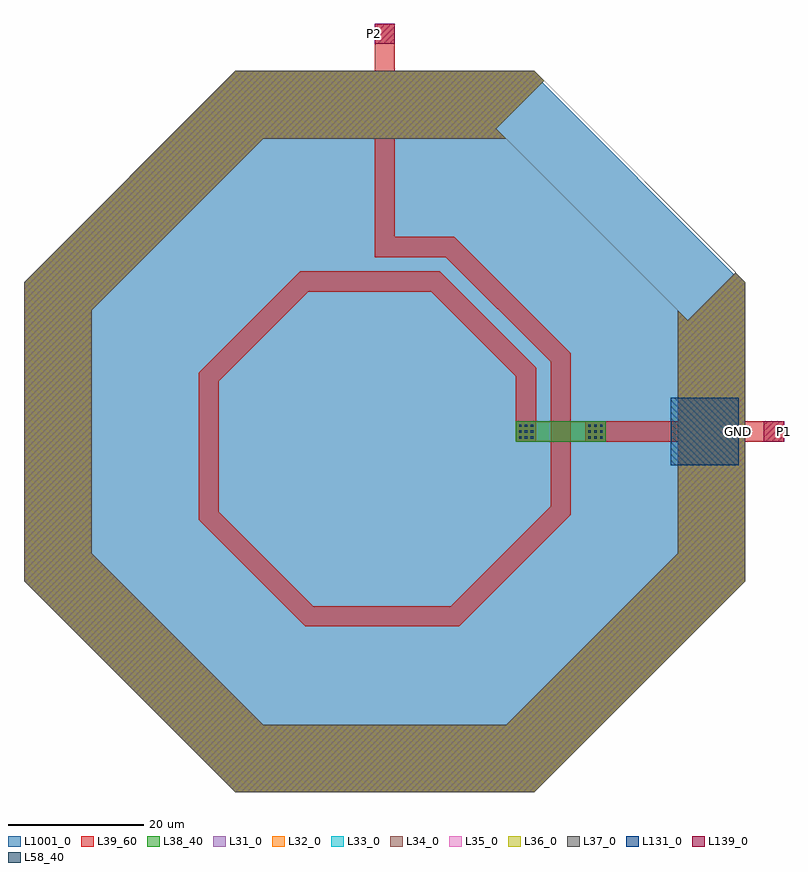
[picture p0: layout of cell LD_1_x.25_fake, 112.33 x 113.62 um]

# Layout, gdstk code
import gdstk
lib = gdstk.Library(unit=1e-6, precision=1e-09)
def R(c, l, rs):  # rectangles x0, y0, x1, y1
    for r in rs: c.add(gdstk.rectangle(r[:2], r[2:], *l))
def A(c, l, x, y, w, h, nx, ny, dx, dy):  # array of equal rectangles
    R(c, l, [(x+i*dx, y+j*dy, x+i*dx+w, y+j*dy+h) for i in range(nx) for j in range(ny)])
def P(c, l, *ps):  # polygons
    for p in ps: c.add(gdstk.Polygon(p, *l))
L31_0 = (31, 0)
L32_0 = (32, 0)
L33_0 = (33, 0)
L34_0 = (34, 0)
L35_0 = (35, 0)
L36_0 = (36, 0)
L37_0 = (37, 0)
L38_40 = (38, 40)
L39_60 = (39, 60)
L58_40 = (58, 40)
L131_0 = (131, 0)
L139_0 = (139, 0)
L1001_0 = (1001, 0)

ld_1_x_25_fake = lib.new_cell('LD_1_x.25_fake')
P(ld_1_x_25_fake, L31_0, [(44.782,16.478),(51.853,23.549),(22.085,53.317),(-22.085,53.317),(-53.317,22.085),(-53.317,-22.085),(-22.085,-53.317),(22.085,-53.317),(53.317,-22.085),(53.317,22.085),(23.549,51.853),(16.478,44.782),(43.317,17.943),(43.317,-17.943),(17.943,-43.317),(-17.943,-43.317),(-43.317,-17.943),(-43.317,17.943),(-17.943,43.317),(17.943,43.317)])
P(ld_1_x_25_fake, L32_0, [(44.782,16.478),(51.853,23.549),(22.085,53.317),(-22.085,53.317),(-53.317,22.085),(-53.317,-22.085),(-22.085,-53.317),(22.085,-53.317),(53.317,-22.085),(53.317,22.085),(23.549,51.853),(16.478,44.782),(43.317,17.943),(43.317,-17.943),(17.943,-43.317),(-17.943,-43.317),(-43.317,-17.943),(-43.317,17.943),(-17.943,43.317),(17.943,43.317)])
P(ld_1_x_25_fake, L33_0, [(44.782,16.478),(51.853,23.549),(22.085,53.317),(-22.085,53.317),(-53.317,22.085),(-53.317,-22.085),(-22.085,-53.317),(22.085,-53.317),(53.317,-22.085),(53.317,22.085),(23.549,51.853),(16.478,44.782),(43.317,17.943),(43.317,-17.943),(17.943,-43.317),(-17.943,-43.317),(-43.317,-17.943),(-43.317,17.943),(-17.943,43.317),(17.943,43.317)])
P(ld_1_x_25_fake, L34_0, [(44.782,16.478),(51.853,23.549),(22.085,53.317),(-22.085,53.317),(-53.317,22.085),(-53.317,-22.085),(-22.085,-53.317),(22.085,-53.317),(53.317,-22.085),(53.317,22.085),(23.549,51.853),(16.478,44.782),(43.317,17.943),(43.317,-17.943),(17.943,-43.317),(-17.943,-43.317),(-43.317,-17.943),(-43.317,17.943),(-17.943,43.317),(17.943,43.317)])
P(ld_1_x_25_fake, L35_0, [(44.782,16.478),(51.853,23.549),(22.085,53.317),(-22.085,53.317),(-53.317,22.085),(-53.317,-22.085),(-22.085,-53.317),(22.085,-53.317),(53.317,-22.085),(53.317,22.085),(23.549,51.853),(16.478,44.782),(43.317,17.943),(43.317,-17.943),(17.943,-43.317),(-17.943,-43.317),(-43.317,-17.943),(-43.317,17.943),(-17.943,43.317),(17.943,43.317)])
P(ld_1_x_25_fake, L36_0, [(44.782,16.478),(51.853,23.549),(22.085,53.317),(-22.085,53.317),(-53.317,22.085),(-53.317,-22.085),(-22.085,-53.317),(22.085,-53.317),(53.317,-22.085),(53.317,22.085),(23.549,51.853),(16.478,44.782),(43.317,17.943),(43.317,-17.943),(17.943,-43.317),(-17.943,-43.317),(-43.317,-17.943),(-43.317,17.943),(-17.943,43.317),(17.943,43.317)])
P(ld_1_x_25_fake, L37_0, [(44.782,16.478),(51.853,23.549),(22.085,53.317),(-22.085,53.317),(-53.317,22.085),(-53.317,-22.085),(-22.085,-53.317),(22.085,-53.317),(53.317,-22.085),(53.317,22.085),(23.549,51.853),(16.478,44.782),(43.317,17.943),(43.317,-17.943),(17.943,-43.317),(-17.943,-43.317),(-43.317,-17.943),(-43.317,17.943),(-17.943,43.317),(17.943,43.317)])
R(ld_1_x_25_fake, L38_40, [(19.39,-1.5,32.64,1.5)])
P(ld_1_x_25_fake, L38_40, [(44.782,16.478),(51.853,23.549),(22.085,53.317),(-22.085,53.317),(-53.317,22.085),(-53.317,-22.085),(-22.085,-53.317),(22.085,-53.317),(53.317,-22.085),(53.317,22.085),(23.549,51.853),(16.478,44.782),(43.317,17.943),(43.317,-17.943),(17.943,-43.317),(-17.943,-43.317),(-43.317,-17.943),(-43.317,17.943),(-17.943,43.317),(17.943,43.317)])
R(ld_1_x_25_fake, L39_60, [(29.64,-1.5,59.015,1.5), (-1.5,25.8,1.5,60.3)])
P(ld_1_x_25_fake, L39_60, [(19.39,-1.5),(22.39,-1.5),(22.39,9.431),(8.151,23.675),(-12.521,23.675),(-27.515,8.681),(-27.515,-13.056),(-11.771,-28.8),(11.021,-28.8),(27.515,-12.306),(27.515,11.551),(10.271,28.8),(0,28.8),(0,25.8),(9.029,25.8),(24.515,10.309),(24.515,-11.064),(9.779,-25.8),(-10.529,-25.8),(-24.515,-11.814),(-24.515,7.439),(-11.279,20.675),(6.909,20.675),(19.39,8.189)],
  [(44.782,16.478),(51.853,23.549),(22.085,53.317),(-22.085,53.317),(-53.317,22.085),(-53.317,-22.085),(-22.085,-53.317),(22.085,-53.317),(53.317,-22.085),(53.317,22.085),(23.549,51.853),(16.478,44.782),(43.317,17.943),(43.317,-17.943),(17.943,-43.317),(-17.943,-43.317),(-43.317,-17.943),(-43.317,17.943),(-17.943,43.317),(17.943,43.317)])
A(ld_1_x_25_fake, L58_40, 19.847, -1.045, 0.35, 0.35, 3, 3, 0.87, 0.87)
A(ld_1_x_25_fake, L58_40, 30.097, -1.045, 0.35, 0.35, 3, 3, 0.87, 0.87)
R(ld_1_x_25_fake, L131_0, [(42.3,-5,52.3,5)])
R(ld_1_x_25_fake, L139_0, [(56.015,-1.5,59.015,1.5), (-1.5,57.3,1.5,60.3)])
P(ld_1_x_25_fake, L1001_0, [(52.937,21.927),(21.927,52.937),(-21.927,52.937),(-52.937,21.927),(-52.937,-21.927),(-21.927,-52.937),(21.927,-52.937),(52.937,-21.927)],
  [(52.937,21.927),(21.927,52.937),(-21.927,52.937),(-52.937,21.927),(-52.937,-21.927),(-21.927,-52.937),(21.927,-52.937),(52.937,-21.927)],
  [(52.937,21.927),(21.927,52.937),(-21.927,52.937),(-52.937,21.927),(-52.937,-21.927),(-21.927,-52.937),(21.927,-52.937),(52.937,-21.927)],
  [(52.937,21.927),(21.927,52.937),(-21.927,52.937),(-52.937,21.927),(-52.937,-21.927),(-21.927,-52.937),(21.927,-52.937),(52.937,-21.927)],
  [(52.937,21.927),(21.927,52.937),(-21.927,52.937),(-52.937,21.927),(-52.937,-21.927),(-21.927,-52.937),(21.927,-52.937),(52.937,-21.927)],
  [(52.937,21.927),(21.927,52.937),(-21.927,52.937),(-52.937,21.927),(-52.937,-21.927),(-21.927,-52.937),(21.927,-52.937),(52.937,-21.927)],
  [(52.937,21.927),(21.927,52.937),(-21.927,52.937),(-52.937,21.927),(-52.937,-21.927),(-21.927,-52.937),(21.927,-52.937),(52.937,-21.927)],
  [(52.937,21.927),(21.927,52.937),(-21.927,52.937),(-52.937,21.927),(-52.937,-21.927),(-21.927,-52.937),(21.927,-52.937),(52.937,-21.927)],
  [(52.937,21.927),(21.927,52.937),(-21.927,52.937),(-52.937,21.927),(-52.937,-21.927),(-21.927,-52.937),(21.927,-52.937),(52.937,-21.927)])
ld_1_x_25_fake.add(gdstk.Label('P1', (59.017,0), layer=139, texttype=0))
ld_1_x_25_fake.add(gdstk.Label('P2', (-1.5,58.798), layer=139, texttype=0))
ld_1_x_25_fake.add(gdstk.Label('GND', (52.298,0), layer=131, texttype=0))

lib.write_gds('LD_1_x.25_fake.gds')
